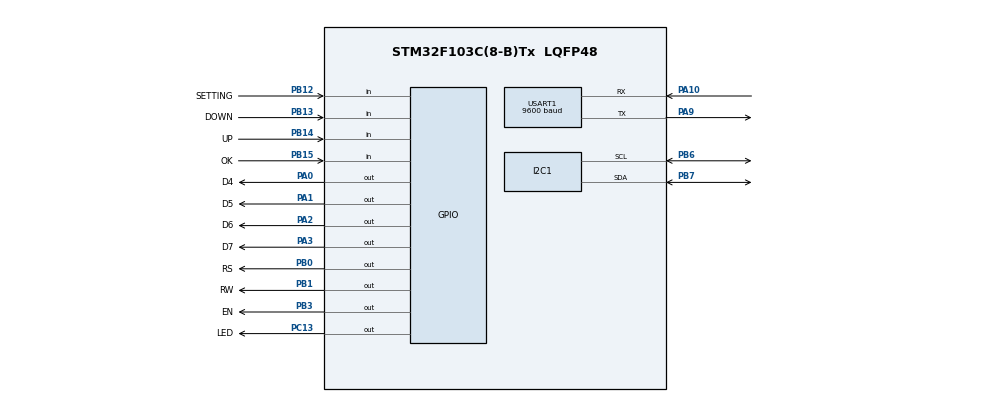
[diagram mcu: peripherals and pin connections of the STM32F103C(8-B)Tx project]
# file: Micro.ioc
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Mcu.Family=STM32F1
Mcu.Name=STM32F103C(8-B)Tx
Mcu.Package=LQFP48
NVIC.PriorityGroup=NVIC_PRIORITYGROUP_4
NVIC.USART1_IRQn=true\:0\:0\:false\:false\:true\:true\:true\:true
PA0-WKUP.GPIO_Label=D4
PA0-WKUP.Signal=GPIO_Output
PA1.GPIO_Label=D5
PA1.Signal=GPIO_Output
PA10.Mode=Asynchronous
PA10.Signal=USART1_RX
PA13.Mode=Serial_Wire
PA13.Signal=SYS_JTMS-SWDIO
PA14.Mode=Serial_Wire
PA14.Signal=SYS_JTCK-SWCLK
PA2.GPIO_Label=D6
PA2.Signal=GPIO_Output
PA3.GPIO_Label=D7
PA3.Signal=GPIO_Output
PA9.Mode=Asynchronous
PA9.Signal=USART1_TX
PB0.GPIO_Label=RS
PB0.Signal=GPIO_Output
PB1.GPIO_Label=RW
PB1.Signal=GPIO_Output
PB12.GPIO_Label=SETTING
PB12.GPIO_PuPd=GPIO_PULLUP
PB12.Signal=GPIO_Input
PB13.GPIO_Label=DOWN
PB13.GPIO_PuPd=GPIO_PULLUP
PB13.Signal=GPIO_Input
PB14.GPIO_Label=UP
PB14.GPIO_PuPd=GPIO_PULLUP
PB14.Signal=GPIO_Input
PB15.GPIO_Label=OK
PB15.GPIO_PuPd=GPIO_PULLUP
PB15.Signal=GPIO_Input
PB3.GPIO_Label=EN
PB3.Signal=GPIO_Output
PB6.Mode=I2C
PB6.Signal=I2C1_SCL
PB7.Mode=I2C
PB7.Signal=I2C1_SDA
PC13-TAMPER-RTC.GPIO_Label=LED
PC13-TAMPER-RTC.Signal=GPIO_Output
ProjectManager.HeapSize=0x200
ProjectManager.StackSize=0x400
ProjectManager.TargetToolchain=MDK-ARM V5.32
RCC.APB1Freq_Value=8000000
RCC.APB2Freq_Value=8000000
USART1.BaudRate=9600
USART1.VirtualMode=VM_ASYNC
board=custom

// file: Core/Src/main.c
/* USER CODE BEGIN Header */
/**
  ******************************************************************************
  * @file           : main.c
  * @brief          : Main program body
  ******************************************************************************
  * @attention
  *
  * Copyright (c) 2025 STMicroelectronics.
  * All rights reserved.
  *
  * This software is licensed under terms that can be found in the LICENSE file
  * in the root directory of this software component.
  * If no LICENSE file comes with this software, it is provided AS-IS.
  *
  ******************************************************************************
  */
/* USER CODE END Header */
#include "main.h"
#include "i2c.h"
#include "usart.h"
#include "gpio.h"

/* USER CODE BEGIN Includes */
#include "stdio.h"
#include "stdlib.h"
/* USER CODE END Includes */

/* USER CODE BEGIN PV */
#define FLASH_PAGE_ADDR 0x0800F800
void send_Idata(uint8_t data)
{
	HAL_Delay(10);
	int temp[4];

	for (int i=0; i<4;i++)
	{

		temp[i]=data%2;
		data=data>>1;

	}

	HAL_GPIO_WritePin(GPIOA,GPIO_PIN_0,temp[0]);
	HAL_GPIO_WritePin(GPIOA,GPIO_PIN_1,temp[1]);
	HAL_GPIO_WritePin(GPIOA,GPIO_PIN_2,temp[2]);
	HAL_GPIO_WritePin(GPIOA,GPIO_PIN_3,temp[3]);

	HAL_GPIO_WritePin(GPIOB,GPIO_PIN_3,GPIO_PIN_SET);
	HAL_Delay(2);
	HAL_GPIO_WritePin(GPIOB,GPIO_PIN_3,GPIO_PIN_RESET);

}
void send_command(uint8_t data)
{
	HAL_Delay(2);
	HAL_GPIO_WritePin(GPIOB,GPIO_PIN_0,GPIO_PIN_RESET);
	HAL_GPIO_WritePin(GPIOB,GPIO_PIN_1,GPIO_PIN_RESET);

	send_Idata(data >>4);
	send_Idata(data);
}
void send_data(uint8_t data)
{
	HAL_Delay(2);
	HAL_GPIO_WritePin(GPIOB,GPIO_PIN_0,GPIO_PIN_SET);
	HAL_GPIO_WritePin(GPIOB,GPIO_PIN_1,GPIO_PIN_RESET);

	send_Idata(data >>4);

	send_Idata(data);

}
void lcd_init(void)
{
  HAL_Delay(2);
  send_command(0x02);
  send_command(0x28);
  send_command(0x0F);
}
void lcd_puts(uint8_t *str)
{
  HAL_Delay(2);
  while(*str !=0x00)
  {
	  send_data(*str);
    str++;
  }
}

void lcd_clear(void)
{
  HAL_Delay(1);
  send_command(0x01);

}
void lcd_gotoxy(uint8_t x, uint8_t y)
{
  HAL_Delay(1);

    switch(y){
    case 0:
      send_command( 0x80 + x );
    break;
    case 1:
      send_command( 0xC0 + x );
      break;

  }
}

/* USER CODE END PV */

void SystemClock_Config(void);

/* USER CODE BEGIN 0 */
int test = 0;
uint8_t Address = 0x38;
uint8_t reset_command = 0xBA;
uint8_t init_command [3] = {0xE1,0x08,0x00};
HAL_StatusTypeDef status;
uint8_t buff1 [32];
float temp = 50;
uint8_t min = 0;
uint8_t max = 60;
uint8_t send = 0;
void HAL_UART_RxCpltCallback(UART_HandleTypeDef *huart) {
        if (strncmp((uint8_t *)buff1, "Report ",7) == 0) {
					sprintf(buff1,"Temp is : %.1f \r\n",temp);
					HAL_Delay(1000);
					HAL_UART_Transmit(&huart1, (uint8_t *)buff1, sizeof(buff1), HAL_MAX_DELAY);
        }
				HAL_UART_Receive_IT(&huart1, buff1, 10);
}
float read_temp() {
			float temp;
			uint8_t measure_command [3] = {0xAC,0x33,0x00};
			uint8_t data [7] = {0};
			HAL_I2C_Master_Transmit(&hi2c1, 0x38<<1 , measure_command, 3, HAL_MAX_DELAY);
			HAL_Delay(80);
			HAL_I2C_Master_Receive(&hi2c1, 0x38<<1, data, 7, HAL_MAX_DELAY);
			temp = ((float)((((uint32_t)data[3]<<16)+((uint16_t)data[2]<<8)+(data[1]))&(0x0FFFFF))/1048576*200)-50;
			return temp;
}
void setting () {
	int mode = 0;
	lcd_clear();
	sprintf(buff1,"Max : %d",max);
	lcd_gotoxy(0,0);
	lcd_puts((uint8_t *)buff1);
	sprintf(buff1,"Min : %d",min);
	lcd_gotoxy(0,1);
	lcd_puts((uint8_t *)buff1);
	HAL_Delay(1000);
	while (mode == 0) {
		if (HAL_GPIO_ReadPin(GPIOB,GPIO_PIN_12) == 0) {
			mode = 1;
		}
		if (HAL_GPIO_ReadPin(GPIOB,GPIO_PIN_14) == 0) { //changing max
				lcd_clear();
				sprintf(buff1,"Max : %d",max);
				lcd_gotoxy(0,0);
				lcd_puts((uint8_t *)buff1);
				HAL_Delay(1000);
				while (1) {
					if (HAL_GPIO_ReadPin(GPIOB,GPIO_PIN_14) == 0) { //increase
						max+=1;
						lcd_clear();
						sprintf(buff1,"Max : %d",max);
						lcd_gotoxy(0,0);
						lcd_puts((uint8_t *)buff1);
						HAL_Delay(1000);
					}
					if (HAL_GPIO_ReadPin(GPIOB,GPIO_PIN_13) == 0) {	//Deacrease
						max-=1;
						lcd_clear();
						sprintf(buff1,"Max : %d",max);
						lcd_gotoxy(0,0);
						lcd_puts((uint8_t *)buff1);
						HAL_Delay(1000);
					}
					if (HAL_GPIO_ReadPin(GPIOB,GPIO_PIN_15) == 0) {	//ok
						lcd_clear();
						lcd_gotoxy(0,0);
						lcd_puts((uint8_t *) "Changed" );
						HAL_Delay(1000);
						mode = 1;
						break;
					}
				}
		}
		if (HAL_GPIO_ReadPin(GPIOB,GPIO_PIN_13) == 0) { //changing min
				lcd_clear();
				sprintf(buff1,"Min : %d",min);
				lcd_gotoxy(0,0);
				lcd_puts((uint8_t *)buff1);
				HAL_Delay(1000);
				while (1) {
					if (HAL_GPIO_ReadPin(GPIOB,GPIO_PIN_14) == 0) { //increase
						min+=1;
						lcd_clear();
						sprintf(buff1,"Min : %d",min);
						lcd_gotoxy(0,0);
						lcd_puts((uint8_t *)buff1);
						HAL_Delay(1000);
					}
					if (HAL_GPIO_ReadPin(GPIOB,GPIO_PIN_13) == 0) {	//Deacrease
						min-=1;
						lcd_clear();
						sprintf(buff1,"Min : %d",min);
						lcd_gotoxy(0,0);
						lcd_puts((uint8_t *)buff1);
						HAL_Delay(1000);
					}
					if (HAL_GPIO_ReadPin(GPIOB,GPIO_PIN_15) == 0) {	//ok
						lcd_clear();
						lcd_gotoxy(0,0);
						lcd_puts((uint8_t *) "Changed" );
						HAL_Delay(1000);
						mode = 1;
						break;
					}
				}
			}
	}
}
void check_temp(float temp,uint8_t min,uint8_t max) {

				if (temp > min && temp < max) {
					HAL_GPIO_WritePin(GPIOC,GPIO_PIN_13,1);
					lcd_clear();
					lcd_gotoxy(0,0);
					sprintf(buff1,"Temp is : %.1f",temp);
					lcd_puts((uint8_t *) buff1 );
					HAL_Delay(100);
					send = 0;
				}
				else if (temp<min){
					HAL_GPIO_WritePin(GPIOC,GPIO_PIN_13,0);
					lcd_clear();
					lcd_gotoxy(0,0);
					lcd_puts((uint8_t *) "Temp is too low" );
					lcd_gotoxy(0,1);
					sprintf(buff1,"Temp is : %.1f",temp);
					lcd_puts((uint8_t *) buff1);
					if (send == 0) {
						sprintf(buff1,"WARNING!!!\r\nTemp is too low\r\n");
						HAL_UART_Transmit(&huart1, (uint8_t *)buff1, strlen(buff1), HAL_MAX_DELAY);
						send = 1;
					}
					HAL_Delay(100);
				}
				else {
					HAL_GPIO_WritePin(GPIOC,GPIO_PIN_13,0);
					lcd_clear();
					lcd_gotoxy(0,0);
					lcd_puts((uint8_t *) "Temp is too high" );
					lcd_gotoxy(0,1);
					sprintf(buff1,"Temp is : %.1f",temp);
					lcd_puts((uint8_t *) buff1);
					if (send == 0) {
						sprintf(buff1,"WARNING!!!\r\nTemp is too high\r\n");
						HAL_UART_Transmit(&huart1, (uint8_t *)buff1, strlen(buff1), HAL_MAX_DELAY);
						send = 1;
					}
					HAL_Delay(100);
				}
}
void Flash_Write(uint8_t Max, uint8_t Min) {

    HAL_FLASH_Unlock();

    FLASH_EraseInitTypeDef EraseInitStruct;
    uint32_t PageError;
    EraseInitStruct.TypeErase = FLASH_TYPEERASE_PAGES;
    EraseInitStruct.PageAddress = FLASH_PAGE_ADDR;
    EraseInitStruct.NbPages = 1;
    HAL_FLASHEx_Erase(&EraseInitStruct, &PageError);

    HAL_FLASH_Program(FLASH_TYPEPROGRAM_HALFWORD, FLASH_PAGE_ADDR, Max);
    HAL_FLASH_Program(FLASH_TYPEPROGRAM_HALFWORD, FLASH_PAGE_ADDR + 2, Min);

    HAL_FLASH_Lock();
}
void Flash_Read(uint8_t *Max, uint8_t *Min) {
    *Max = *(uint8_t *)FLASH_PAGE_ADDR;
    *Min = *(uint8_t *)(FLASH_PAGE_ADDR + 2);
}
/* USER CODE END 0 */

int main(void)
{

  /* MCU Configuration--------------------------------------------------------*/

  /* Reset of all peripherals, Initializes the Flash interface and the Systick. */
  HAL_Init();

  /* Configure the system clock */
  SystemClock_Config();

  /* Initialize all configured peripherals */
  MX_GPIO_Init();
  MX_USART1_UART_Init();
  MX_I2C1_Init();
  /* USER CODE BEGIN 2 */
	lcd_init();
	HAL_I2C_Master_Transmit(&hi2c1, Address<<1 , init_command, 3, HAL_MAX_DELAY); //Sensor Init
	HAL_Delay(10);
	Flash_Read(&max, &min);
	HAL_UART_Receive_IT(&huart1, buff1, 10);
  /* USER CODE END 2 */

  /* Infinite loop */
    while (1)
    {

    /* USER CODE BEGIN 3 */
			temp = read_temp();
			check_temp(temp,min,max);
			if (HAL_GPIO_ReadPin(GPIOB,GPIO_PIN_12) == 0) {
				HAL_Delay(100);
				setting();
				Flash_Write(max, min);
			}

    }
  /* USER CODE END 3 */
}

void SystemClock_Config(void)
{
  RCC_OscInitTypeDef RCC_OscInitStruct = {0};
  RCC_ClkInitTypeDef RCC_ClkInitStruct = {0};

  /** Initializes the RCC Oscillators according to the specified parameters
  * in the RCC_OscInitTypeDef structure.
  */
  RCC_OscInitStruct.OscillatorType = RCC_OSCILLATORTYPE_HSI;
  RCC_OscInitStruct.HSIState = RCC_HSI_ON;
  RCC_OscInitStruct.HSICalibrationValue = RCC_HSICALIBRATION_DEFAULT;
  RCC_OscInitStruct.PLL.PLLState = RCC_PLL_NONE;
  if (HAL_RCC_OscConfig(&RCC_OscInitStruct) != HAL_OK)
  {
    Error_Handler();
  }

  /** Initializes the CPU, AHB and APB buses clocks
  */
  RCC_ClkInitStruct.ClockType = RCC_CLOCKTYPE_HCLK|RCC_CLOCKTYPE_SYSCLK
                              |RCC_CLOCKTYPE_PCLK1|RCC_CLOCKTYPE_PCLK2;
  RCC_ClkInitStruct.SYSCLKSource = RCC_SYSCLKSOURCE_HSI;
  RCC_ClkInitStruct.AHBCLKDivider = RCC_SYSCLK_DIV1;
  RCC_ClkInitStruct.APB1CLKDivider = RCC_HCLK_DIV1;
  RCC_ClkInitStruct.APB2CLKDivider = RCC_HCLK_DIV1;

  if (HAL_RCC_ClockConfig(&RCC_ClkInitStruct, FLASH_LATENCY_0) != HAL_OK)
  {
    Error_Handler();
  }
}

void Error_Handler(void)
{
    __disable_irq();
    while (1)
    {
    }
}
